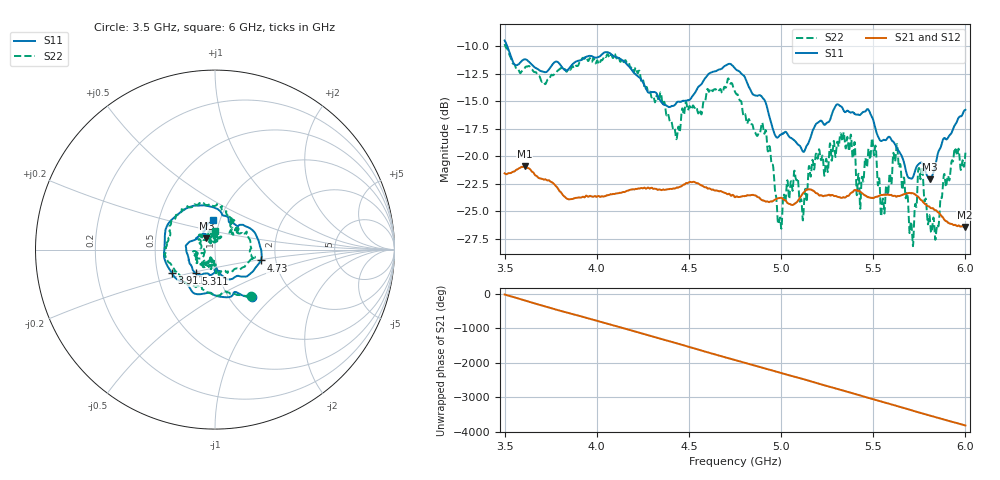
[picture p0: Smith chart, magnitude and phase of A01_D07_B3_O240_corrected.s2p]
! Created with skrf 1.9.0 (http://scikit-rf.org).
# Hz S RI R 50.0
!freq ReS11 ImS11 ReS21 ImS21 ReS12 ImS12 ReS22 ImS22
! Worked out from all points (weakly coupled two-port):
!   1601 points, 3.5 GHz to 6 GHz, reference 50 ohm
!   highest |S21| = -20.91 dB at 3.609 GHz (marker M1); lowest = -26.4 dB at 5.995 GHz (marker M2)
!   lowest |S11| = -22.1 dB at 5.808 GHz (marker M3), VSWR 1.17, Z = 45.1 + j5.67 ohm
!   |S11| at or under -10 dB: 3.515 GHz to end of sweep
!   |S22| runs from -28.2 to -9.8 dB; largest |S21 - S12| = 0.0012
!   S11 on the Smith chart (normalised r, x): 3.5 GHz: 1.27, -0.76; 3.911 GHz: 0.59, -0.17; 4.73 GHz: 1.67, -0.22; 5.311 GHz: 0.78, -0.21; 6 GHz: 0.93, +0.31
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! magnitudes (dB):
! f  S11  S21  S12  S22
! 3.5 GHz  -9.5  -21.5  -21.5  -9.8
! 3.609 GHz  -11.2  -20.9  -20.9  -12.0
! 3.911 GHz  -11.3  -23.7  -23.7  -11.4
! 3.917 GHz  -11.2  -23.7  -23.7  -11.2
! 4.334 GHz  -14.6  -23.0  -23.0  -14.9
! 4.439 GHz  -15.0  -22.8  -22.8  -17.6
! 4.73 GHz  -11.6  -23.6  -23.5  -13.3
! 4.75 GHz  -12.0  -23.7  -23.7  -14.1
! 4.908 GHz  -14.8  -24.0  -24.0  -17.9
! 4.992 GHz  -18.1  -23.8  -23.7  -25.7
! 5.167 GHz  -17.9  -23.1  -23.0  -20.6
! 5.311 GHz  -15.3  -23.7  -23.7  -19.0
! 5.42 GHz  -16.2  -23.1  -23.2  -21.6
! 5.502 GHz  -16.8  -23.8  -23.7  -19.6
! 5.55 GHz  -18.5  -23.5  -23.5  -24.1
! 5.584 GHz  -18.2  -23.5  -23.5  -22.6
! 5.636 GHz  -19.4  -23.6  -23.6  -20.4
! 5.708 GHz  -22.0  -23.3  -23.3  -26.2
! 5.756 GHz  -20.6  -23.9  -23.9  -22.1
! 5.808 GHz  -22.1  -24.6  -24.6  -25.8
! 5.995 GHz  -15.8  -26.4  -26.4  -20.7
! 6 GHz  -15.8  -26.4  -26.4  -19.7
